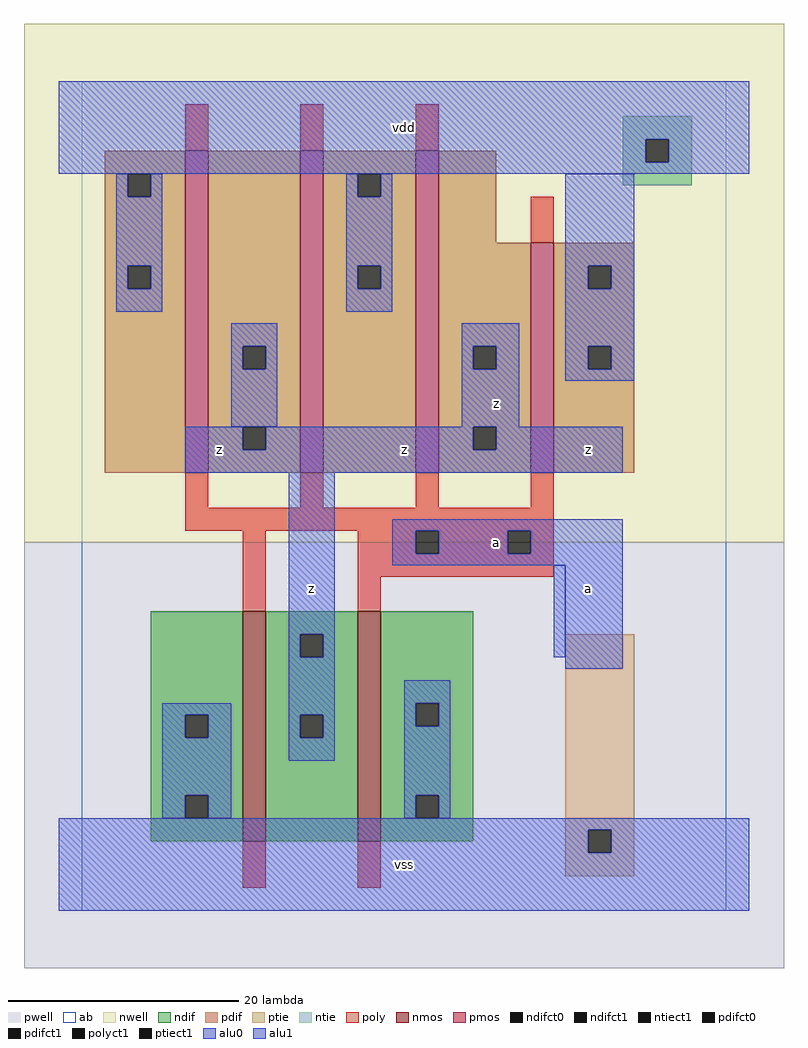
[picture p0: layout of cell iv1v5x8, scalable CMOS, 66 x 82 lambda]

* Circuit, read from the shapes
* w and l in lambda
.subckt iv1v5x8 a vdd vss z
M1 z a vss vss nfet w=20 l=2 m=2
M2 z a vdd vdd pfet w=28 l=2 m=3
M3 vdd a z vdd pfet w=20 l=2
.ends

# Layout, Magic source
magic
tech scmos
<< ab >>
rect 0 0 56 72
<< nwell >>
rect -5 32 61 77
<< pwell >>
rect -5 -5 61 32
<< poly >>
rect 9 66 11 70
rect 19 66 21 70
rect 29 66 31 70
rect 39 58 41 62
rect 9 35 11 38
rect 19 35 21 38
rect 29 35 31 38
rect 39 35 41 38
rect 9 33 41 35
rect 14 26 16 33
rect 24 31 29 33
rect 31 31 37 33
rect 39 31 41 33
rect 24 29 41 31
rect 24 26 26 29
rect 14 2 16 6
rect 24 2 26 6
<< ndif >>
rect 6 17 14 26
rect 6 15 9 17
rect 11 15 14 17
rect 6 10 14 15
rect 6 8 9 10
rect 11 8 14 10
rect 6 6 14 8
rect 16 24 24 26
rect 16 22 19 24
rect 21 22 24 24
rect 16 17 24 22
rect 16 15 19 17
rect 21 15 24 17
rect 16 6 24 15
rect 26 18 34 26
rect 26 16 29 18
rect 31 16 34 18
rect 26 10 34 16
rect 26 8 29 10
rect 31 8 34 10
rect 26 6 34 8
<< pdif >>
rect 2 64 9 66
rect 2 62 4 64
rect 6 62 9 64
rect 2 56 9 62
rect 2 54 4 56
rect 6 54 9 56
rect 2 38 9 54
rect 11 49 19 66
rect 11 47 14 49
rect 16 47 19 49
rect 11 42 19 47
rect 11 40 14 42
rect 16 40 19 42
rect 11 38 19 40
rect 21 64 29 66
rect 21 62 24 64
rect 26 62 29 64
rect 21 56 29 62
rect 21 54 24 56
rect 26 54 29 56
rect 21 38 29 54
rect 31 58 36 66
rect 31 49 39 58
rect 31 47 34 49
rect 36 47 39 49
rect 31 42 39 47
rect 31 40 34 42
rect 36 40 39 42
rect 31 38 39 40
rect 41 56 48 58
rect 41 54 44 56
rect 46 54 48 56
rect 41 49 48 54
rect 41 47 44 49
rect 46 47 48 49
rect 41 38 48 47
<< alu1 >>
rect -2 67 58 72
rect -2 65 49 67
rect 51 65 58 67
rect -2 64 58 65
rect 33 49 38 51
rect 33 47 34 49
rect 36 47 38 49
rect 33 42 38 47
rect 9 40 14 42
rect 16 40 34 42
rect 36 40 47 42
rect 9 38 47 40
rect 18 24 22 38
rect 27 33 47 34
rect 27 31 29 33
rect 31 31 37 33
rect 39 31 47 33
rect 27 30 47 31
rect 18 22 19 24
rect 21 22 22 24
rect 18 17 22 22
rect 42 21 47 30
rect 18 15 19 17
rect 21 15 22 17
rect 18 13 22 15
rect -2 7 58 8
rect -2 5 44 7
rect 46 5 58 7
rect -2 0 58 5
<< ptie >>
rect 42 7 48 24
rect 42 5 44 7
rect 46 5 48 7
rect 42 3 48 5
<< ntie >>
rect 47 67 53 69
rect 47 65 49 67
rect 51 65 53 67
rect 47 63 53 65
<< nmos >>
rect 14 6 16 26
rect 24 6 26 26
<< pmos >>
rect 9 38 11 66
rect 19 38 21 66
rect 29 38 31 66
rect 39 38 41 58
<< polyct1 >>
rect 29 31 31 33
rect 37 31 39 33
<< ndifct0 >>
rect 9 15 11 17
rect 9 8 11 10
rect 29 16 31 18
rect 29 8 31 10
<< ndifct1 >>
rect 19 22 21 24
rect 19 15 21 17
<< ntiect1 >>
rect 49 65 51 67
<< ptiect1 >>
rect 44 5 46 7
<< pdifct0 >>
rect 4 62 6 64
rect 4 54 6 56
rect 14 47 16 49
rect 24 62 26 64
rect 24 54 26 56
rect 44 54 46 56
rect 44 47 46 49
<< pdifct1 >>
rect 14 40 16 42
rect 34 47 36 49
rect 34 40 36 42
<< alu0 >>
rect 3 62 4 64
rect 6 62 7 64
rect 3 56 7 62
rect 3 54 4 56
rect 6 54 7 56
rect 3 52 7 54
rect 23 62 24 64
rect 26 62 27 64
rect 23 56 27 62
rect 23 54 24 56
rect 26 54 27 56
rect 23 52 27 54
rect 42 56 48 64
rect 42 54 44 56
rect 46 54 48 56
rect 13 49 17 51
rect 13 47 14 49
rect 16 47 17 49
rect 13 42 17 47
rect 42 49 48 54
rect 42 47 44 49
rect 46 47 48 49
rect 42 46 48 47
rect 41 22 42 30
rect 7 17 13 18
rect 7 15 9 17
rect 11 15 13 17
rect 7 10 13 15
rect 28 18 32 20
rect 28 16 29 18
rect 31 16 32 18
rect 7 8 9 10
rect 11 8 13 10
rect 28 10 32 16
rect 28 8 29 10
rect 31 8 32 10
<< labels >>
rlabel alu1 20 28 20 28 6 z
rlabel alu1 12 40 12 40 6 z
rlabel alu1 28 4 28 4 6 vss
rlabel alu1 36 32 36 32 6 a
rlabel alu1 28 40 28 40 6 z
rlabel alu1 36 44 36 44 6 z
rlabel alu1 28 68 28 68 6 vdd
rlabel alu1 44 28 44 28 6 a
rlabel alu1 44 40 44 40 6 z
<< end >>
